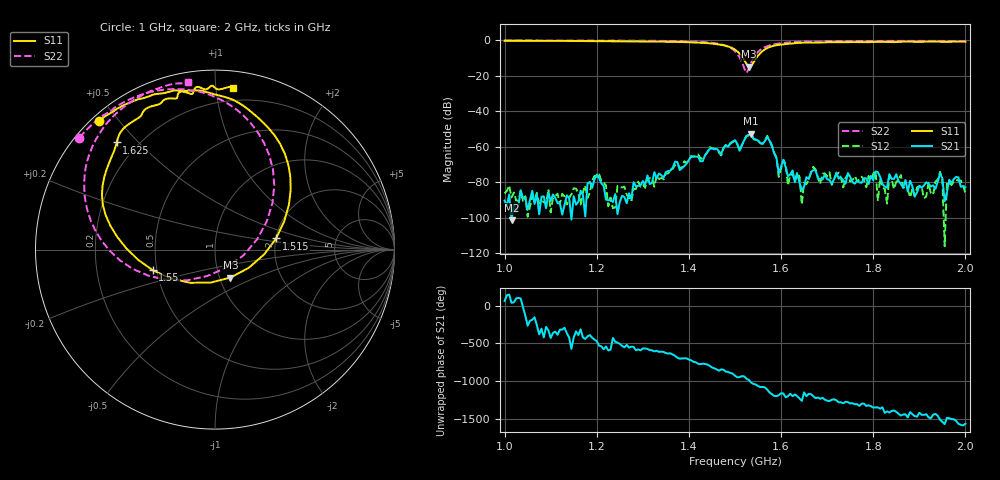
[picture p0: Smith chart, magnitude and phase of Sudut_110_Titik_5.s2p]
# Hz S RI R 50
! CMT, C1220, 16058040, 17.2.0/1
! Date: 14/08/2018 11:47:44
! Data: Format (Calibration Info)
! Freq  S11: Re/Im (F2)  S21: Re/Im (F2)  S12: Re/Im (F2)  S22: Re/Im (F2)
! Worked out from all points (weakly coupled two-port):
!   201 points, 1 GHz to 2 GHz, reference 50 ohm
!   highest |S21| = -52.63 dB at 1.535 GHz (marker M1); lowest = -101.4 dB at 1.015 GHz (marker M2)
!   lowest |S11| = -15.0 dB at 1.53 GHz (marker M3), VSWR 1.43, Z = 56.3 - j18.1 ohm
!   |S11| at or under -10 dB: 1.517 GHz to 1.547 GHz (29.61 MHz wide, 1.93 % of centre)
!   |S22| runs from -18.5 to -0.2 dB; largest |S21 - S12| = 0.00017
!   S11 on the Smith chart (normalised r, x): 1 GHz: 0.02, +0.44; 1.515 GHz: 2.01, +0.28; 1.55 GHz: 0.47, -0.13; 1.625 GHz: 0.12, +0.43; 2 GHz: 0.11, +1.11
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1e9  -0.6468 0.7154  1.31e-05 2.74e-05  -4.77e-05 5.55e-06  -0.7552 0.6244
1.015e9  -0.6286 0.7289  6.6e-06 5.41e-06  2.78e-05 2.45e-05  -0.7446 0.6359
1.17e9  -0.4665 0.8223  2.15e-05 -3.79e-05  3.67e-05 -3.66e-05  -0.6183 0.7506
1.335e9  -0.2024 0.8853  -5.33e-05 0.000166  1.31e-05 0.000122  -0.4011 0.8659
1.45e9  0.187 0.7794  -0.000141 -0.000886  -0.000215 -0.000887  0.0212 0.8409
1.5e9  0.422 0.3347  -0.00132 0.000752  -0.00126 0.000714  0.3304 0.357
1.515e9  0.3404 0.0619  -0.000929 0.000642  -0.000927 0.000573  0.2359 0.0588
1.53e9  0.0862 -0.1557  -0.000157 0.00208  -0.000123 0.00212  -0.0432 -0.1473
1.535e9  -0.0254 -0.1842  0.0012 0.002  0.00117 0.00203  -0.1554 -0.1713
1.55e9  -0.3469 -0.115  0.00145 0.000353  0.00145 0.000418  -0.4567 -0.1082
1.57e9  -0.5822 0.1317  0.00155 -0.00105  0.00166 -0.00113  -0.6668 0.1067
1.59e9  -0.6265 0.3562  -0.000242 -0.000412  -0.000256 -0.000415  -0.7265 0.3021
1.595e9  -0.6168 0.4044  -5.31e-05 -0.000167  -3.35e-06 -0.00014  -0.7286 0.3423
1.605e9  -0.5884 0.4874  3.07e-05 -0.000426  -3.94e-05 -0.000422  -0.7263 0.4124
1.615e9  -0.5621 0.5502  -7.29e-05 -0.000127  -4.69e-05 -6.44e-05  -0.7178 0.4709
1.625e9  -0.5475 0.5971  -0.000108 -0.000184  -9.66e-05 -0.000131  -0.7041 0.5203
1.63e9  -0.5421 0.6178  -1.39e-05 -9.85e-05  -3.77e-05 -0.000102  -0.6961 0.5426
1.655e9  -0.4745 0.7033  -7.19e-05 -0.000118  -2.64e-05 -8.36e-05  -0.6531 0.6314
1.67e9  -0.4263 0.7335  -0.000117 -0.000186  -0.000113 -0.000244  -0.6268 0.672
1.685e9  -0.4065 0.7561  -0.000112 -4.96e-05  -5.53e-05 -6.95e-05  -0.6023 0.7045
1.835e9  -0.1343 0.8671  0.000155 6.25e-05  7.78e-05 0.000131  -0.3778 0.8741
2e9  0.0976 0.9004  -4.26e-05 -5.78e-05  -3.18e-05 -3.71e-05  -0.152 0.9343
